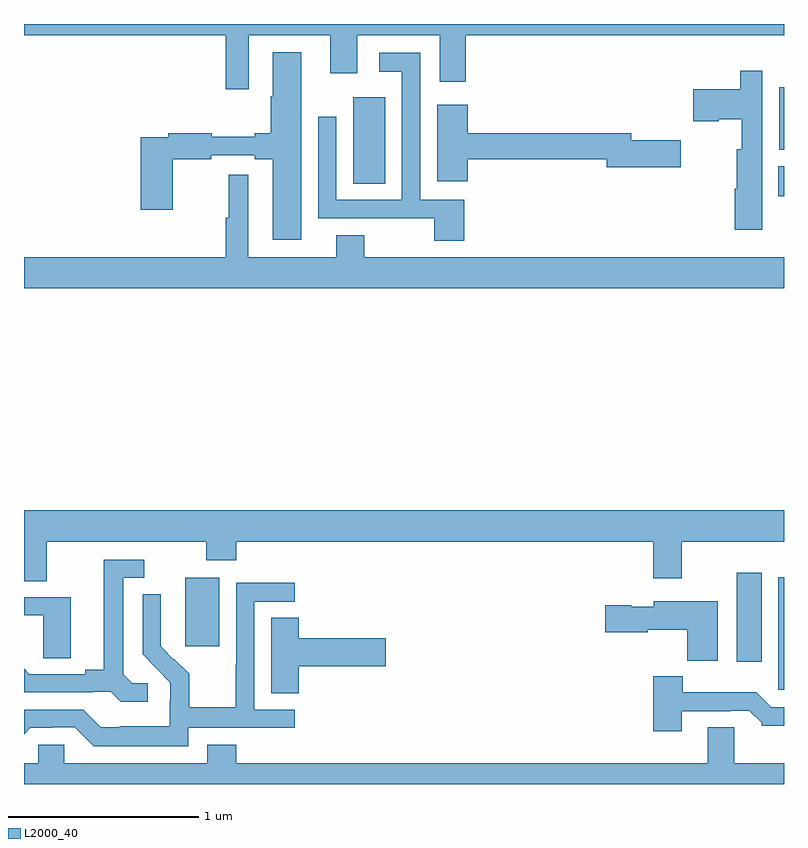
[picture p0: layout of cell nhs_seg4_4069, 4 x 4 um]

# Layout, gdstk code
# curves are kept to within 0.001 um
import gdstk
lib = gdstk.Library(unit=1e-6, precision=1e-09)
def R(c, l, rs):  # rectangles x0, y0, x1, y1
    for r in rs: c.add(gdstk.rectangle(r[:2], r[2:], *l))
def P(c, l, *ps):  # polygons
    for p in ps: c.add(gdstk.Polygon(p, *l))
L2000_40 = (2000, 40)

nhs_seg4_4069 = lib.new_cell('nhs_seg4_4069')
R(nhs_seg4_4069, L2000_40, [(330.971,773.397,331,773.989), (330.752,773.544,330.883,774.013), (327.848,773.625,328.027,773.986), (330.971,775.994,331,776.152), (328.733,776.059,328.9,776.515), (330.975,776.237,331,776.566)])
P(nhs_seg4_4069, L2000_40, [(328.183,776.84),(328.613,776.84),(328.613,776.64),(328.753,776.64),(328.753,776.84),(329.189,776.84),(329.189,776.595),(329.324,776.595),(329.324,776.84),(331,776.84),(331,776.9),(327,776.9),(327,776.84),(328.062,776.84),(328.062,776.556),(328.183,776.556)],
  [(328.459,776.752),(328.31,776.752),(328.31,776.52),(328.298,776.52),(328.298,776.324),(328.214,776.324),(328.214,776.307),(327.987,776.307),(327.987,776.324),(327.76,776.324),(327.76,776.304),(327.614,776.304),(327.614,775.923),(327.784,775.923),(327.784,776.188),(327.986,776.188),(327.986,776.208),(328.214,776.208),(328.214,776.188),(328.31,776.188),(328.31,775.764),(328.459,775.764)],
  [(329.318,775.974),(329.085,775.974),(329.085,776.749),(328.869,776.749),(328.869,776.648),(328.989,776.648),(328.989,775.974),(328.644,775.974),(328.644,776.413),(328.548,776.413),(328.548,775.878),(328.892,775.878),(328.892,775.877),(329.158,775.877),(329.158,775.758),(329.318,775.758)],
  [(330.886,776.138),(330.885,776.138),(330.885,776.653),(330.769,776.653),(330.769,776.557),(330.522,776.557),(330.522,776.387),(330.656,776.387),(330.656,776.399),(330.777,776.399),(330.777,776.242),(330.752,776.242),(330.752,776.034),(330.74,776.034),(330.74,775.818),(330.886,775.818)],
  [(329.336,776.188),(330.068,776.188),(330.068,776.146),(330.457,776.146),(330.457,776.288),(330.196,776.288),(330.196,776.324),(329.336,776.324),(329.336,776.476),(329.174,776.476),(329.174,776.073),(329.336,776.073)],
  [(331,775.672),(328.791,775.672),(328.791,775.789),(328.643,775.789),(328.643,775.672),(328.18,775.672),(328.18,776.107),(328.078,776.107),(328.078,775.881),(328.063,775.881),(328.063,775.672),(327,775.672),(327,775.508),(331,775.508)],
  [(327.121,774.176),(327.958,774.176),(327.958,774.077),(328.118,774.077),(328.118,774.176),(330.311,774.176),(330.311,773.982),(330.463,773.982),(330.463,774.176),(331,774.176),(331,774.34),(327,774.34),(327,773.968),(327.121,773.968)],
  [(327.652,773.43),(327.57,773.43),(327.523,773.477),(327.523,773.985),(327.634,773.985),(327.634,774.081),(327.419,774.081),(327.419,773.501),(327.323,773.501),(327.323,773.478),(327.028,773.478),(327,773.506),(327,773.382),(327.362,773.382),(327.362,773.385),(327.456,773.385),(327.508,773.333),(327.652,773.333)],
  [(327.864,773.196),(328.426,773.196),(328.426,773.292),(328.212,773.292),(328.212,773.859),(328.426,773.859),(328.426,773.958),(328.116,773.958),(328.116,773.528),(328.114,773.528),(328.114,773.305),(327.869,773.305),(327.869,773.479),(327.792,773.556),(327.789,773.553),(327.719,773.624),(327.72,773.9),(327.624,773.9),(327.624,773.582),(327.77,773.434),(327.77,773.337),(327.768,773.337),(327.768,773.203),(327.505,773.203),(327.505,773.199),(327.405,773.199),(327.312,773.292),(327,773.292),(327,773.163),(327.033,773.196),(327.152,773.196),(327.152,773.199),(327.267,773.199),(327.367,773.099),(327.864,773.099)],
  [(327.247,773.883),(327,773.883),(327,773.787),(327.102,773.787),(327.102,773.563),(327.247,773.563)],
  [(330.652,773.863),(330.314,773.863),(330.314,773.833),(330.195,773.833),(330.195,773.841),(330.06,773.841),(330.06,773.699),(330.282,773.699),(330.282,773.711),(330.49,773.711),(330.49,773.549),(330.652,773.549)],
  [(328.445,773.519),(328.903,773.519),(328.903,773.666),(328.445,773.666),(328.445,773.774),(328.301,773.774),(328.301,773.377),(328.445,773.377)],
  [(330.463,773.283),(330.719,773.283),(330.719,773.286),(330.818,773.286),(330.882,773.222),(330.882,773.207),(331,773.207),(331,773.304),(330.933,773.304),(330.855,773.383),(330.466,773.383),(330.466,773.467),(330.311,773.467),(330.311,773.178),(330.463,773.178)],
  [(327.213,773.106),(327.075,773.106),(327.075,773.008),(327,773.008),(327,772.9),(331,772.9),(331,773.008),(330.739,773.008),(330.739,773.198),(330.599,773.198),(330.599,773.008),(328.118,773.008),(328.118,773.107),(327.965,773.107),(327.965,773.008),(327.213,773.008)])

lib.write_gds('nhs_seg4_4069.gds')
